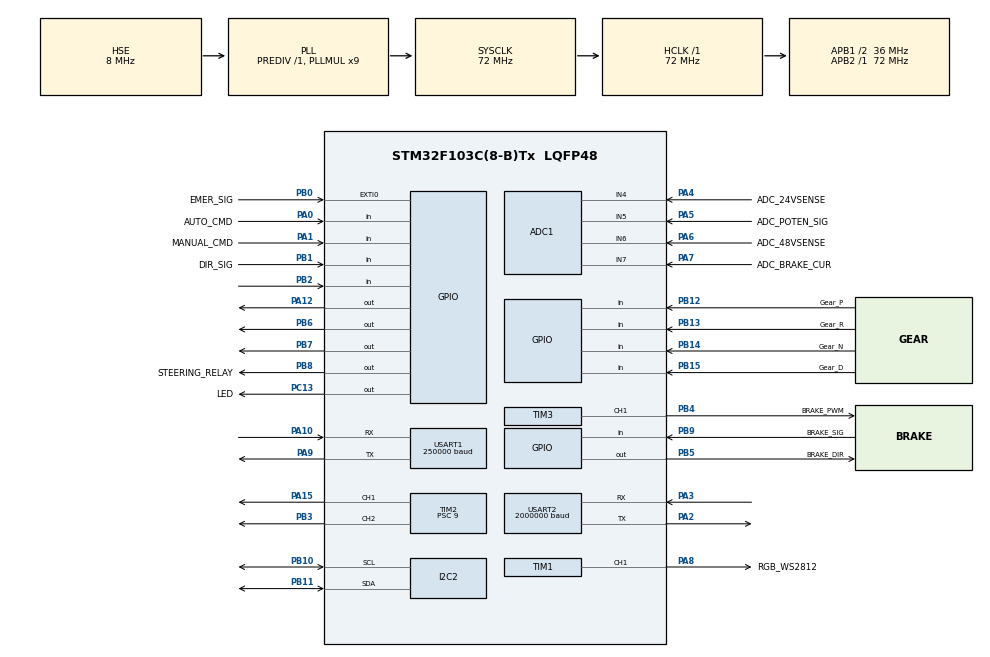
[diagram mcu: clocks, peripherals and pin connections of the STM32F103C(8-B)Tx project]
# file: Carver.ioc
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ADC1.Channel-3\#ChannelRegularConversion=ADC_CHANNEL_4
ADC1.Channel-4\#ChannelRegularConversion=ADC_CHANNEL_5
ADC1.Channel-5\#ChannelRegularConversion=ADC_CHANNEL_6
ADC1.Channel-6\#ChannelRegularConversion=ADC_CHANNEL_7
ADC1.ContinuousConvMode=ENABLE
ADC1.NbrOfConversion=4
ADC1.NbrOfConversionFlag=1
ADC1.Rank-3\#ChannelRegularConversion=1
ADC1.Rank-4\#ChannelRegularConversion=2
ADC1.Rank-5\#ChannelRegularConversion=3
ADC1.Rank-6\#ChannelRegularConversion=4
ADC1.SamplingTime-3\#ChannelRegularConversion=ADC_SAMPLETIME_239CYCLES_5
ADC1.SamplingTime-4\#ChannelRegularConversion=ADC_SAMPLETIME_239CYCLES_5
ADC1.SamplingTime-5\#ChannelRegularConversion=ADC_SAMPLETIME_239CYCLES_5
ADC1.SamplingTime-6\#ChannelRegularConversion=ADC_SAMPLETIME_239CYCLES_5
ADC1.master=1
Dma.ADC1.1.Direction=DMA_PERIPH_TO_MEMORY
Dma.ADC1.1.Instance=DMA1_Channel1
Dma.ADC1.1.MemDataAlignment=DMA_MDATAALIGN_HALFWORD
Dma.ADC1.1.MemInc=DMA_MINC_ENABLE
Dma.ADC1.1.Mode=DMA_CIRCULAR
Dma.ADC1.1.PeriphDataAlignment=DMA_PDATAALIGN_HALFWORD
Dma.ADC1.1.PeriphInc=DMA_PINC_DISABLE
Dma.ADC1.1.Priority=DMA_PRIORITY_LOW
Dma.Request0=TIM1_CH1
Dma.Request1=ADC1
Dma.Request2=USART2_RX
Dma.TIM1_CH1.0.Direction=DMA_PERIPH_TO_MEMORY
Dma.TIM1_CH1.0.Instance=DMA1_Channel2
Dma.TIM1_CH1.0.MemDataAlignment=DMA_MDATAALIGN_HALFWORD
Dma.TIM1_CH1.0.MemInc=DMA_MINC_ENABLE
Dma.TIM1_CH1.0.Mode=DMA_NORMAL
Dma.TIM1_CH1.0.PeriphDataAlignment=DMA_PDATAALIGN_HALFWORD
Dma.TIM1_CH1.0.PeriphInc=DMA_PINC_DISABLE
Dma.TIM1_CH1.0.Priority=DMA_PRIORITY_LOW
Dma.USART2_RX.2.Direction=DMA_PERIPH_TO_MEMORY
Dma.USART2_RX.2.Instance=DMA1_Channel6
Dma.USART2_RX.2.MemDataAlignment=DMA_MDATAALIGN_BYTE
Dma.USART2_RX.2.MemInc=DMA_MINC_ENABLE
Dma.USART2_RX.2.Mode=DMA_NORMAL
Dma.USART2_RX.2.PeriphDataAlignment=DMA_PDATAALIGN_BYTE
Dma.USART2_RX.2.PeriphInc=DMA_PINC_DISABLE
Dma.USART2_RX.2.Priority=DMA_PRIORITY_LOW
Mcu.Family=STM32F1
Mcu.Name=STM32F103C(8-B)Tx
Mcu.Package=LQFP48
NVIC.ADC1_2_IRQn=true\:3\:0\:true\:false\:true\:true\:true\:true
NVIC.DMA1_Channel1_IRQn=true\:2\:0\:true\:false\:true\:false\:true\:true
NVIC.DMA1_Channel2_IRQn=true\:2\:0\:true\:false\:true\:false\:true\:true
NVIC.DMA1_Channel6_IRQn=true\:0\:0\:false\:false\:true\:false\:true\:true
NVIC.PriorityGroup=NVIC_PRIORITYGROUP_4
NVIC.USART1_IRQn=true\:1\:0\:true\:false\:true\:true\:true\:true
NVIC.USART2_IRQn=true\:0\:0\:true\:false\:true\:true\:true\:true
PA0-WKUP.GPIO_Label=AUTO_CMD
PA0-WKUP.Signal=GPIO_Input
PA1.GPIO_Label=MANUAL_CMD
PA1.Signal=GPIO_Input
PA10.Mode=Asynchronous
PA10.Signal=USART1_RX
PA12.Signal=GPIO_Output
PA13.Mode=Serial_Wire
PA13.Signal=SYS_JTMS-SWDIO
PA14.Mode=Serial_Wire
PA14.Signal=SYS_JTCK-SWCLK
PA15.Signal=S_TIM2_CH1_ETR
PA2.Mode=Asynchronous
PA2.Signal=USART2_TX
PA3.Mode=Asynchronous
PA3.Signal=USART2_RX
PA4.GPIO_Label=ADC_24VSENSE
PA4.Signal=ADCx_IN4
PA5.GPIO_Label=ADC_POTEN_SIG
PA5.Signal=ADCx_IN5
PA6.GPIO_Label=ADC_48VSENSE
PA6.Signal=ADCx_IN6
PA7.GPIO_Label=ADC_BRAKE_CUR
PA7.Signal=ADCx_IN7
PA8.GPIO_Label=RGB_WS2812
PA8.Signal=S_TIM1_CH1
PA9.Mode=Asynchronous
PA9.Signal=USART1_TX
PB0.GPIO_Label=EMER_SIG
PB0.GPIO_ModeDefaultEXTI=GPIO_MODE_IT_FALLING
PB0.Signal=GPXTI0
PB1.GPIO_Label=DIR_SIG
PB1.Signal=GPIO_Input
PB10.Mode=I2C
PB10.Signal=I2C2_SCL
PB11.Mode=I2C
PB11.Signal=I2C2_SDA
PB12.GPIO_Label=Gear_P
PB12.Signal=GPIO_Input
PB13.GPIO_Label=Gear_R
PB13.Signal=GPIO_Input
PB14.GPIO_Label=Gear_N
PB14.Signal=GPIO_Input
PB15.GPIO_Label=Gear_D
PB15.Signal=GPIO_Input
PB2.Signal=GPIO_Input
PB3.Signal=S_TIM2_CH2
PB4.GPIO_Label=BRAKE_PWM
PB4.Signal=S_TIM3_CH1
PB5.GPIO_Label=BRAKE_DIR
PB5.Signal=GPIO_Output
PB6.GPIO_ModeDefaultOutputPP=GPIO_MODE_OUTPUT_PP
PB6.GPIO_PuPd=GPIO_NOPULL
PB6.Signal=GPIO_Output
PB7.GPIO_ModeDefaultOutputPP=GPIO_MODE_OUTPUT_PP
PB7.GPIO_PuPd=GPIO_NOPULL
PB7.Signal=GPIO_Output
PB8.GPIO_Label=STEERING_RELAY
PB8.Signal=GPIO_Output
PB9.GPIO_Label=BRAKE_SIG
PB9.Signal=GPIO_Input
PC13-TAMPER-RTC.GPIO_Label=LED
PC13-TAMPER-RTC.Signal=GPIO_Output
PC14-OSC32_IN.Mode=LSE-External-Oscillator
PC14-OSC32_IN.Signal=RCC_OSC32_IN
PC15-OSC32_OUT.Mode=LSE-External-Oscillator
PC15-OSC32_OUT.Signal=RCC_OSC32_OUT
PD0-OSC_IN.Mode=HSE-External-Oscillator
PD0-OSC_IN.Signal=RCC_OSC_IN
PD1-OSC_OUT.Mode=HSE-External-Oscillator
PD1-OSC_OUT.Signal=RCC_OSC_OUT
ProjectManager.HeapSize=0x200
ProjectManager.StackSize=0x400
ProjectManager.TargetToolchain=STM32CubeIDE
RCC.ADCPresc=RCC_ADCPCLK2_DIV6
RCC.AHBFreq_Value=72000000
RCC.APB1CLKDivider=RCC_HCLK_DIV2
RCC.APB1Freq_Value=36000000
RCC.APB1TimFreq_Value=72000000
RCC.APB2Freq_Value=72000000
RCC.APB2TimFreq_Value=72000000
RCC.HCLKFreq_Value=72000000
RCC.PLLMUL=RCC_PLL_MUL9
RCC.PLLSourceVirtual=RCC_PLLSOURCE_HSE
RCC.SYSCLKFreq_VALUE=72000000
RCC.SYSCLKSource=RCC_SYSCLKSOURCE_PLLCLK
RCC.USBFreq_Value=72000000
SH.ADCx_IN4.0=ADC1_IN4,IN4
SH.ADCx_IN5.0=ADC1_IN5,IN5
SH.ADCx_IN6.0=ADC1_IN6,IN6
SH.ADCx_IN7.0=ADC1_IN7,IN7
SH.S_TIM1_CH1.0=TIM1_CH1,PWM Generation1 CH1
SH.S_TIM2_CH1_ETR.0=TIM2_CH1,PWM Generation1 CH1
SH.S_TIM2_CH2.0=TIM2_CH2,PWM Generation2 CH2
SH.S_TIM3_CH1.0=TIM3_CH1,PWM Generation1 CH1
TIM1.Channel-PWM\ Generation1\ CH1=TIM_CHANNEL_1
TIM2.Channel-PWM\ Generation1\ CH1=TIM_CHANNEL_1
TIM2.Channel-PWM\ Generation2\ CH2=TIM_CHANNEL_2
TIM2.OCPolarity_1=TIM_OCPOLARITY_HIGH
TIM2.Period=8999
TIM2.Prescaler=9
TIM3.Channel-PWM\ Generation1\ CH1=TIM_CHANNEL_1
USART1.BaudRate=250000
USART1.VirtualMode=VM_ASYNC
USART2.BaudRate=2000000
USART2.VirtualMode=VM_ASYNC
VP_TIM1_VS_ClockSourceINT.Mode=Internal
VP_TIM3_VS_ClockSourceINT.Mode=Internal
board=custom

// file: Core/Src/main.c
/* USER CODE BEGIN Header */
/**
 ******************************************************************************
 * @file           : main.c
 * @brief          : Main program body
 ******************************************************************************
 * @attention
 *
 * Copyright (c) 2023 STMicroelectronics.
 * All rights reserved.
 *
 * This software is licensed under terms that can be found in the LICENSE file
 * in the root directory of this software component.
 * If no LICENSE file comes with this software, it is provided AS-IS.
 *
 ******************************************************************************
 */
/* USER CODE END Header */
#include "main.h"
#include "adc.h"
#include "dma.h"
#include "i2c.h"
#include "tim.h"
#include "usart.h"
#include "gpio.h"

/* USER CODE BEGIN Includes */

#include "UART_PC.h"
#include "IO.h"

/* USER CODE END Includes */

/* USER CODE BEGIN PD */

// TEMP
#define AMT21_READ_POS 0xD4 + 0x00
#define AMT21_EXT_CMD 0xD4 + 0x02 // Begin Extended Command
#define AMT21_SET_ZERO 0x5E

/* USER CODE END PD */

/* USER CODE BEGIN PV */

IOtypedef IOVar = { 0 };
extern IOtypedef IOVar;

// TEMP
uint8_t RxBuffer[2];
int32_t Rawpos = 0;
float Kp = 6.0;
float Ki = 2.0;
float Kd = 0.0;
int32_t error_summa;
float control_dt = (1.0 / 500.0);
int32_t duty;
int32_t pwm = 0;
int32_t pos_setpoint = 0;
uint32_t encoder_error = 0;

/* USER CODE END PV */

void SystemClock_Config(void);
/* USER CODE BEGIN PFP */

// TEMP
void amt21_set_zero_pos();
int16_t amt21_get_pos();
int16_t controller(int pos_current);
void setMotor(int PWM);
uint8_t check_parity(uint16_t response);

/* USER CODE END PFP */

int main(void) {

	/* MCU Configuration--------------------------------------------------------*/

	/* Reset of all peripherals, Initializes the Flash interface and the Systick. */
	HAL_Init();

	/* Configure the system clock */
	SystemClock_Config();

	/* Initialize all configured peripherals */
	MX_GPIO_Init();
	MX_DMA_Init();
	MX_TIM1_Init();
	MX_USART1_UART_Init();
	MX_USART2_UART_Init();
	MX_ADC1_Init();
	MX_TIM3_Init();
	MX_I2C2_Init();
	MX_TIM2_Init();
	/* USER CODE BEGIN 2 */

	UART_PC_Set(&huart1);
	IO_init_ADC_DMA();

	// TEMP

	HAL_TIM_Base_Start(&htim2); //Motor
	HAL_TIM_PWM_Start(&htim2, TIM_CHANNEL_1); //LPWM
	HAL_TIM_PWM_Start(&htim2, TIM_CHANNEL_2); //RPWM
	setMotor(0);
	IOVar.SteeringSetpoint = 3950;

	if (HAL_GPIO_ReadPin(GPIOB, GPIO_PIN_2)) {
		amt21_set_zero_pos();
	}

	/* USER CODE END 2 */

	/* Infinite loop */
	/* USER CODE BEGIN WHILE */
	while (1) {
		IO_read_write(&IOVar);
		UART_PC_Streamer(&IOVar);

		//TEMP
		pos_setpoint = IOVar.SteeringSetpoint;

		/* USER CODE END WHILE */

		/* USER CODE BEGIN 3 */
		static uint32_t timestamp = 0;
		if (HAL_GetTick() >= timestamp) {
			timestamp = HAL_GetTick() + 2;
			Rawpos = amt21_get_pos();
			IOVar.SteeringAngleRaw = Rawpos;
			pwm = controller(Rawpos);
			if (encoder_error < 10) {
				setMotor(pwm);
			} else {
				setMotor(0);
			}
		}
	}
	/* USER CODE END 3 */
}

void SystemClock_Config(void) {
	RCC_OscInitTypeDef RCC_OscInitStruct = { 0 };
	RCC_ClkInitTypeDef RCC_ClkInitStruct = { 0 };
	RCC_PeriphCLKInitTypeDef PeriphClkInit = { 0 };

	/** Initializes the RCC Oscillators according to the specified parameters
	 * in the RCC_OscInitTypeDef structure.
	 */
	RCC_OscInitStruct.OscillatorType = RCC_OSCILLATORTYPE_HSE;
	RCC_OscInitStruct.HSEState = RCC_HSE_ON;
	RCC_OscInitStruct.HSEPredivValue = RCC_HSE_PREDIV_DIV1;
	RCC_OscInitStruct.HSIState = RCC_HSI_ON;
	RCC_OscInitStruct.PLL.PLLState = RCC_PLL_ON;
	RCC_OscInitStruct.PLL.PLLSource = RCC_PLLSOURCE_HSE;
	RCC_OscInitStruct.PLL.PLLMUL = RCC_PLL_MUL9;
	if (HAL_RCC_OscConfig(&RCC_OscInitStruct) != HAL_OK) {
		Error_Handler();
	}

	/** Initializes the CPU, AHB and APB buses clocks
	 */
	RCC_ClkInitStruct.ClockType = RCC_CLOCKTYPE_HCLK | RCC_CLOCKTYPE_SYSCLK | RCC_CLOCKTYPE_PCLK1 | RCC_CLOCKTYPE_PCLK2;
	RCC_ClkInitStruct.SYSCLKSource = RCC_SYSCLKSOURCE_PLLCLK;
	RCC_ClkInitStruct.AHBCLKDivider = RCC_SYSCLK_DIV1;
	RCC_ClkInitStruct.APB1CLKDivider = RCC_HCLK_DIV2;
	RCC_ClkInitStruct.APB2CLKDivider = RCC_HCLK_DIV1;

	if (HAL_RCC_ClockConfig(&RCC_ClkInitStruct, FLASH_LATENCY_2) != HAL_OK) {
		Error_Handler();
	}
	PeriphClkInit.PeriphClockSelection = RCC_PERIPHCLK_ADC;
	PeriphClkInit.AdcClockSelection = RCC_ADCPCLK2_DIV6;
	if (HAL_RCCEx_PeriphCLKConfig(&PeriphClkInit) != HAL_OK) {
		Error_Handler();
	}
}

/* USER CODE BEGIN 4 */

void HAL_UART_RxCpltCallback(UART_HandleTypeDef *huart) {
	if (huart == &huart1) {
		UART_PC_Callback(huart);
	}
}

// TEMP
int16_t amt21_get_pos() {
	static int16_t L_pos = 4500;
	uint8_t cmd[1] = { AMT21_READ_POS };

	HAL_GPIO_WritePin(GPIOA, GPIO_PIN_12, GPIO_PIN_SET); // send
	HAL_UART_Transmit(&huart2, cmd, 1, 100);
	HAL_GPIO_WritePin(GPIOA, GPIO_PIN_12, GPIO_PIN_RESET); // receive
	HAL_UART_DMAStop(&huart2); // clear UART RX
	HAL_UART_Receive_DMA(&huart2, (uint8_t*) RxBuffer, 2);

	uint16_t pos = ((RxBuffer[1] << 8) | RxBuffer[0]);

	if (check_parity(pos)) {
		// parity correct
		L_pos = pos & 0x3FFFu;

		L_pos = 16384 - L_pos;

		if (L_pos > 12000) {
			L_pos -= 16384;
		}
		RxBuffer[0] = 0;
		RxBuffer[1] = 0;
		encoder_error = 0;
	} else {
		// parity incorrect
		encoder_error++;
	}

	return L_pos;
}

uint8_t check_parity(uint16_t response) {
	// Verify parameters
	if (response == 0)
		return 0;

	// Check odd bits parity (odd parity)
	int k1 = (response >> 15) & 0x01;
	int odd_checkbit = !(((response >> 1) & 0x01) ^ ((response >> 3) & 0x01) ^ ((response >> 5) & 0x01) ^ ((response >> 7) & 0x01)
			^ ((response >> 9) & 0x01) ^ ((response >> 11) & 0x01) ^ ((response >> 13) & 0x01));
	if (odd_checkbit != k1)
		return 0;

	// Check even bits parity (odd parity)
	int k0 = (response >> 14) & 0x01;
	int even_checkbit = !(((response >> 0) & 0x01) ^ ((response >> 2) & 0x01) ^ ((response >> 4) & 0x01) ^ ((response >> 6) & 0x01)
			^ ((response >> 8) & 0x01) ^ ((response >> 10) & 0x01) ^ ((response >> 12) & 0x01));
	if (even_checkbit != k0)
		return 0;

	return 1;
}

void amt21_set_zero_pos() {
	uint8_t cmd[2] = { AMT21_EXT_CMD, AMT21_SET_ZERO };
	HAL_GPIO_WritePin(GPIOA, GPIO_PIN_12, GPIO_PIN_SET);
	HAL_UART_Transmit(&huart2, cmd, 2, 1000);
	HAL_GPIO_WritePin(GPIOA, GPIO_PIN_12, GPIO_PIN_RESET);
	HAL_Delay(20);
}

void setMotor(int PWM) {

	if (PWM >= 0) {
		__HAL_TIM_SET_COMPARE(&htim2, TIM_CHANNEL_1, PWM);
		HAL_GPIO_WritePin(GPIOB, GPIO_PIN_7, 1);
	}

	else if (PWM < 0) {
		__HAL_TIM_SET_COMPARE(&htim2, TIM_CHANNEL_1, -1 * PWM);
		HAL_GPIO_WritePin(GPIOB, GPIO_PIN_7, 0);
	}
}

int16_t controller(int pos_current) {
	if (pos_current > 11500 || pos_current < -10) {
		return 0;
	}
	float u = 0;
	if (IOVar.DrivingMode == MODE_AUTO) {
		int error_pos = pos_setpoint - pos_current;
		int error_delta = error_pos / control_dt;
		error_summa += error_pos * control_dt;
		u = Kp * error_pos + Kd * error_delta + Ki * error_summa;
		if (error_pos <= 3 && error_pos >= -3) {
			error_summa = 0;
			return 0;
		}
		if (u >= 3000) {
			u = 3000;
		} else if (u <= -3000) {
			u = -3000;
		}

	} else if (IOVar.DrivingMode == MODE_MANUAL) {
		u = 0;
	}
	return u;
}

/* USER CODE END 4 */

void Error_Handler(void) {
	__disable_irq();
	while (1) {
	}
}
